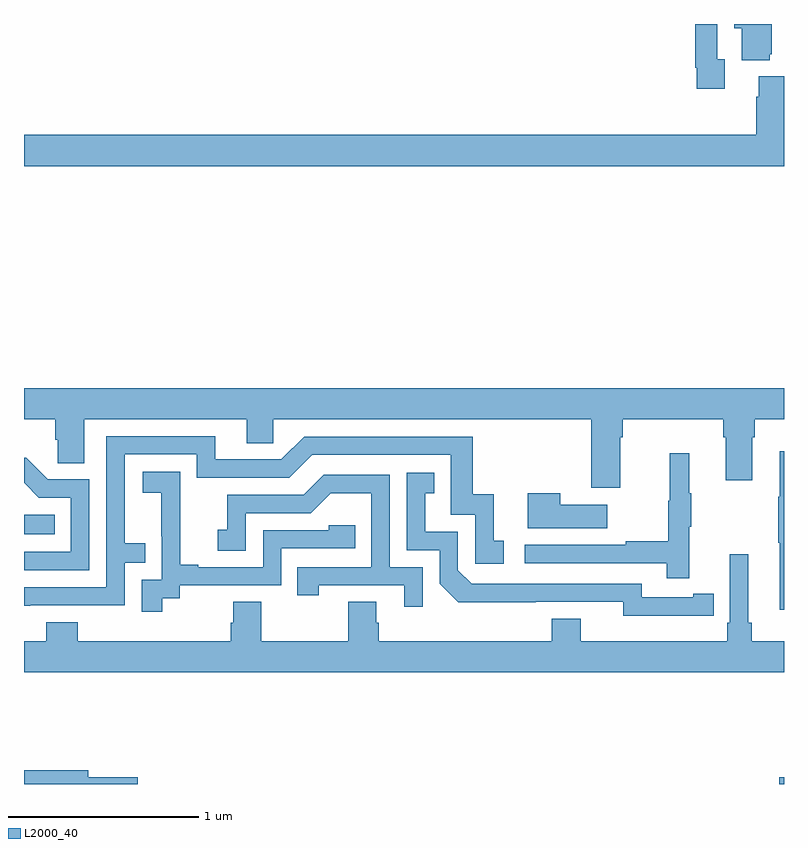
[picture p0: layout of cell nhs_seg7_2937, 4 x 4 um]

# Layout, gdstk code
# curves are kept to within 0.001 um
import gdstk
lib = gdstk.Library(unit=1e-6, precision=1e-09)
def R(c, l, rs):  # rectangles x0, y0, x1, y1
    for r in rs: c.add(gdstk.rectangle(r[:2], r[2:], *l))
def P(c, l, *ps):  # polygons
    for p in ps: c.add(gdstk.Polygon(p, *l))
L2000_40 = (2000, 40)

nhs_seg7_2937 = lib.new_cell('nhs_seg7_2937')
R(nhs_seg7_2937, L2000_40, [(302.976,1028,303,1028.036), (299,1029.314,299.162,1029.418)])
P(nhs_seg7_2937, L2000_40, [(302.689,1031.814),(302.649,1031.814),(302.649,1032),(302.533,1032),(302.533,1031.77),(302.541,1031.77),(302.541,1031.658),(302.689,1031.658)],
  [(302.924,1031.841),(302.935,1031.841),(302.935,1032),(302.738,1032),(302.738,1031.978),(302.777,1031.978),(302.777,1031.81),(302.924,1031.81)],
  [(303,1031.725),(302.867,1031.725),(302.867,1031.618),(302.855,1031.618),(302.855,1031.416),(299,1031.416),(299,1031.252),(303,1031.252)],
  [(302.137,1029.824),(302.15,1029.824),(302.15,1029.92),(302.681,1029.92),(302.681,1029.824),(302.693,1029.824),(302.693,1029.6),(302.833,1029.6),(302.833,1029.824),(302.846,1029.824),(302.846,1029.92),(303,1029.92),(303,1030.084),(299,1030.084),(299,1029.92),(299.165,1029.92),(299.165,1029.811),(299.178,1029.811),(299.178,1029.688),(299.317,1029.688),(299.317,1029.92),(300.173,1029.92),(300.173,1029.793),(300.312,1029.793),(300.312,1029.92),(301.985,1029.92),(301.985,1029.558),(302.137,1029.558)],
  [(299.033,1028.94),(299.529,1028.94),(299.529,1029.165),(299.639,1029.165),(299.639,1029.266),(299.529,1029.266),(299.529,1029.735),(299.91,1029.735),(299.91,1029.612),(300.396,1029.612),(300.516,1029.732),(301.245,1029.732),(301.245,1029.417),(301.374,1029.417),(301.374,1029.159),(301.525,1029.159),(301.525,1029.279),(301.472,1029.279),(301.472,1029.526),(301.361,1029.526),(301.361,1029.828),(300.474,1029.828),(300.354,1029.708),(300.007,1029.708),(300.007,1029.831),(299.433,1029.831),(299.433,1029.036),(299,1029.036),(299,1028.939)],
  [(303,1029.751),(302.978,1029.751),(302.978,1029.512),(302.971,1029.512),(302.971,1029.271),(302.978,1029.271),(302.978,1028.916),(303,1028.916)],
  [(302.501,1029.355),(302.512,1029.355),(302.512,1029.529),(302.501,1029.529),(302.501,1029.742),(302.398,1029.742),(302.398,1029.492),(302.391,1029.492),(302.391,1029.278),(302.167,1029.278),(302.167,1029.258),(301.635,1029.258),(301.635,1029.162),(302.383,1029.162),(302.383,1029.084),(302.501,1029.084)],
  [(299.343,1029.603),(299.124,1029.603),(299.011,1029.716),(299,1029.716),(299,1029.585),(299.078,1029.507),(299.247,1029.507),(299.247,1029.222),(299,1029.222),(299,1029.126),(299.343,1029.126)],
  [(299.728,1028.977),(299.82,1028.977),(299.82,1029.045),(300.354,1029.045),(300.354,1029.24),(300.743,1029.24),(300.743,1029.363),(300.603,1029.363),(300.603,1029.336),(300.258,1029.336),(300.258,1029.141),(299.917,1029.141),(299.917,1029.154),(299.822,1029.154),(299.822,1029.437),(299.823,1029.437),(299.823,1029.643),(299.625,1029.643),(299.625,1029.533),(299.723,1029.533),(299.723,1029.305),(299.724,1029.305),(299.724,1029.075),(299.619,1029.075),(299.619,1028.907),(299.728,1028.907)],
  [(302.522,1028.886),(302.63,1028.886),(302.63,1029.002),(302.522,1029.002),(302.522,1028.982),(302.25,1028.982),(302.25,1029.054),(301.356,1029.054),(301.284,1029.126),(301.284,1029.327),(301.111,1029.327),(301.111,1029.531),(301.16,1029.531),(301.16,1029.637),(301.014,1029.637),(301.014,1029.231),(301.188,1029.231),(301.188,1029.054),(301.286,1028.957),(302.154,1028.958),(302.154,1028.885)],
  [(301.098,1029.141),(300.924,1029.141),(300.924,1029.627),(300.578,1029.627),(300.473,1029.522),(300.07,1029.522),(300.07,1029.337),(300.021,1029.337),(300.021,1029.228),(300.168,1029.228),(300.168,1029.426),(300.51,1029.426),(300.614,1029.53),(300.828,1029.53),(300.828,1029.141),(300.439,1029.141),(300.439,1028.994),(300.55,1028.994),(300.55,1029.045),(301.001,1029.045),(301.001,1028.934),(301.098,1028.934)],
  [(302.071,1029.469),(301.823,1029.469),(301.823,1029.529),(301.652,1029.529),(301.652,1029.347),(302.071,1029.347)],
  [(300.853,1028.85),(300.853,1028.96),(300.706,1028.96),(300.706,1028.752),(300.249,1028.752),(300.249,1028.96),(300.101,1028.96),(300.101,1028.85),(300.089,1028.85),(300.089,1028.752),(299.282,1028.752),(299.282,1028.851),(299.117,1028.851),(299.117,1028.752),(299,1028.752),(299,1028.588),(303,1028.588),(303,1028.752),(302.831,1028.752),(302.831,1028.848),(302.812,1028.848),(302.812,1029.208),(302.715,1029.208),(302.715,1028.848),(302.702,1028.848),(302.702,1028.752),(301.93,1028.752),(301.93,1028.869),(301.778,1028.869),(301.778,1028.752),(300.866,1028.752),(300.866,1028.85)],
  [(299.599,1028.036),(299.338,1028.036),(299.338,1028.072),(299,1028.072),(299,1028),(299.599,1028)])

lib.write_gds('nhs_seg7_2937.gds')
